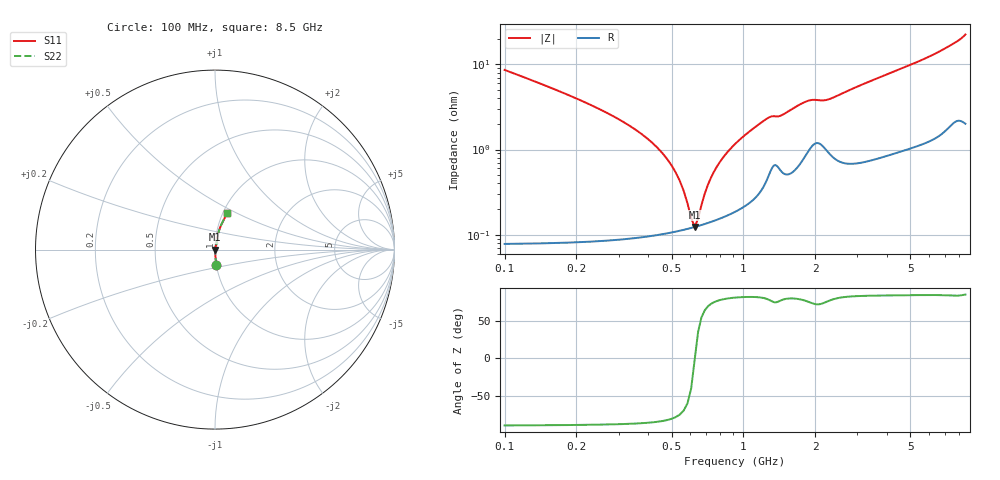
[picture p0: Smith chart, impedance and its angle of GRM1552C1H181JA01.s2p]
!Murata Part Number: GRM1552C1H181JA01
!These Parameters are Measured in Series Mode Connection
!Data Generated on Mar 30, 2021
!  o--ll--o
!Port1  Port2
!  o------o
!Operation Temp=25[degC], DC Bias Voltage=0[V]
!Freq. Start=100[MHz] Stop=9[GHz] 401[Steps]
# Hz S RI R 50
!Freq.(Hz) S11(Real) S11(Imag) S21(Real) S21(Imag) S12(Real) S12(Imag) S22(Real) S22(Imag)
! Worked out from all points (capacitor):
!   401 points, 100 MHz to 8.5 GHz, reference 50 ohm
!   read as one part in series: C = 180 pF near 142 MHz
!   lowest |Z| = 123 mohm at 625 MHz (marker M1)
!   series resonance near 626.1 MHz, so ESL is about 360 pH
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1e8  0.00813 -0.0854  0.9919 0.0854  0.9919 0.0854  0.00813 -0.0854
4.57e8  0.00109 -0.00905  0.9989 0.00905  0.9989 0.00905  0.00109 -0.00905
5.2e8  0.00111 -0.00529  0.9989 0.00529  0.9989 0.00529  0.00111 -0.00529
5.83e8  0.00117 -0.00202  0.9988 0.00202  0.9988 0.00202  0.00117 -0.00202
6.04e8  0.0012 -0.00102  0.9988 0.00102  0.9988 0.00102  0.0012 -0.00102
6.25e8  0.00123 -4.88e-05  0.9988 4.88e-05  0.9988 4.88e-05  0.00123 -4.88e-05
6.46e8  0.00126 0.000889  0.9987 -0.000889  0.9987 -0.000889  0.00126 0.000889
6.67e8  0.0013 0.0018  0.9987 -0.0018  0.9987 -0.0018  0.0013 0.0018
7.09e8  0.00138 0.00355  0.9986 -0.00355  0.9986 -0.00355  0.00138 0.00355
7.72e8  0.00152 0.00602  0.9985 -0.00602  0.9985 -0.00602  0.00152 0.00602
8.35e8  0.00169 0.00835  0.9983 -0.00835  0.9983 -0.00835  0.00169 0.00835
9.19e8  0.00197 0.0113  0.998 -0.0113  0.998 -0.0113  0.00197 0.0113
1.045e9  0.00252 0.0156  0.9975 -0.0156  0.9975 -0.0156  0.00252 0.0156
1.234e9  0.00446 0.0219  0.9955 -0.0219  0.9955 -0.0219  0.00446 0.0219
1.507e9  0.00576 0.0263  0.9942 -0.0263  0.9942 -0.0263  0.00576 0.0263
1.864e9  0.0106 0.0354  0.9894 -0.0354  0.9894 -0.0354  0.0106 0.0354
2.242e9  0.0108 0.0365  0.9892 -0.0365  0.9892 -0.0365  0.0108 0.0365
2.914e9  0.00947 0.0517  0.9905 -0.0517  0.9905 -0.0517  0.00947 0.0517
4.3e9  0.0155 0.0805  0.9845 -0.0805  0.9845 -0.0805  0.0155 0.0805
5.707e9  0.0243 0.1112  0.9757 -0.1112  0.9757 -0.1112  0.0243 0.1112
7.114e9  0.04 0.1488  0.96 -0.1488  0.96 -0.1488  0.04 0.1488
8.5e9  0.0647 0.2052  0.9353 -0.2052  0.9353 -0.2052  0.0647 0.2052
